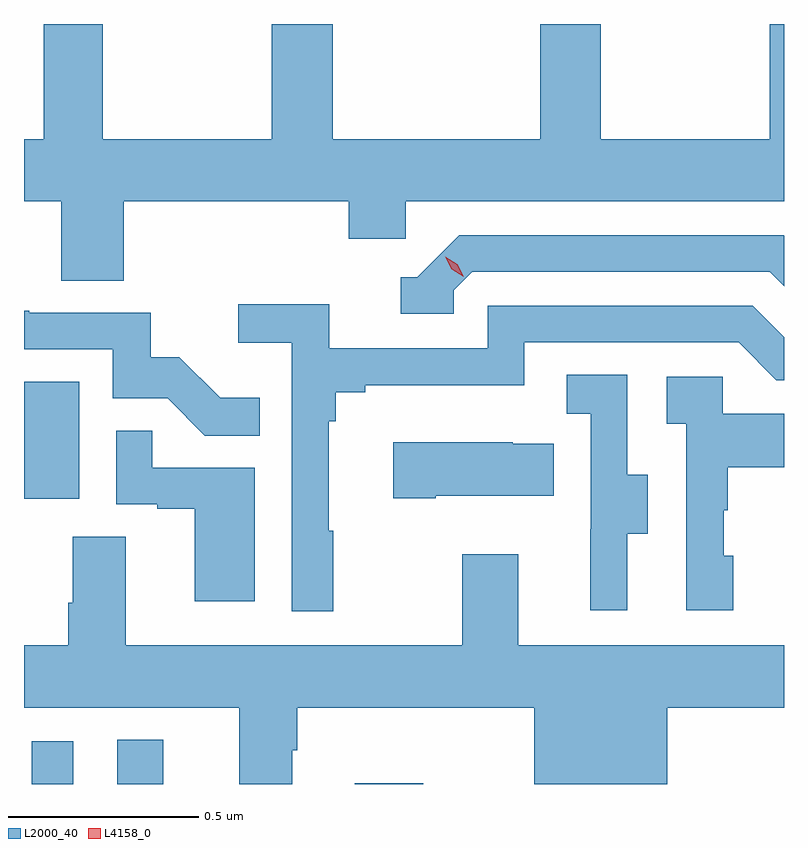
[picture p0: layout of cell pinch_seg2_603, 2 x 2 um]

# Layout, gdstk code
import gdstk
lib = gdstk.Library(unit=1e-6, precision=1e-09)
def R(c, l, rs):  # rectangles x0, y0, x1, y1
    for r in rs: c.add(gdstk.rectangle(r[:2], r[2:], *l))
def P(c, l, *ps):  # polygons
    for p in ps: c.add(gdstk.Polygon(p, *l))
L2000_40 = (2000, 40)
L4158_0 = (4158, 0)

pinch_seg2_603 = lib.new_cell('pinch_seg2_603')
R(pinch_seg2_603, L2000_40, [(1073.784,616.799,1073.892,616.912), (1074.008,616.799,1074.13,616.915), (1074.633,616.799,1074.814,616.801), (1073.763,617.55,1073.908,617.857)])
P(pinch_seg2_603, L2000_40, [(1074.026,618.332),(1074.617,618.332),(1074.617,618.234),(1074.768,618.234),(1074.768,618.332),(1075.763,618.332),(1075.763,618.799),(1075.726,618.799),(1075.726,618.496),(1075.281,618.496),(1075.281,618.799),(1075.121,618.799),(1075.121,618.496),(1074.575,618.496),(1074.575,618.799),(1074.415,618.799),(1074.415,618.496),(1073.97,618.496),(1073.97,618.799),(1073.815,618.799),(1073.815,618.496),(1073.763,618.496),(1073.763,618.332),(1073.861,618.332),(1073.861,618.124),(1074.026,618.124)],
  [(1074.894,618.099),(1074.942,618.147),(1075.725,618.147),(1075.763,618.109),(1075.763,618.242),(1075.762,618.243),(1074.909,618.243),(1074.798,618.132),(1074.755,618.132),(1074.755,618.036),(1074.894,618.036)],
  [(1074.577,617.465),(1074.565,617.465),(1074.565,617.753),(1074.584,617.753),(1074.584,617.83),(1074.661,617.83),(1074.661,617.849),(1075.08,617.849),(1075.08,617.961),(1075.644,617.961),(1075.743,617.862),(1075.763,617.862),(1075.763,617.975),(1075.681,618.057),(1074.984,618.057),(1074.984,617.946),(1074.566,617.946),(1074.566,618.062),(1074.327,618.062),(1074.327,617.96),(1074.468,617.96),(1074.468,617.253),(1074.577,617.253)],
  [(1074.383,617.815),(1074.279,617.815),(1074.172,617.922),(1074.096,617.922),(1074.096,618.039),(1073.777,618.039),(1073.777,618.044),(1073.763,618.044),(1073.763,617.943),(1073.997,617.943),(1073.997,617.814),(1074.141,617.814),(1074.239,617.716),(1074.383,617.716)],
  [(1075.351,617.458),(1075.405,617.458),(1075.405,617.613),(1075.35,617.613),(1075.35,617.876),(1075.191,617.876),(1075.191,617.773),(1075.254,617.773),(1075.254,617.469),(1075.253,617.469),(1075.253,617.256),(1075.351,617.256)],
  [(1075.63,617.4),(1075.605,617.4),(1075.605,617.519),(1075.615,617.519),(1075.615,617.633),(1075.763,617.633),(1075.763,617.773),(1075.602,617.773),(1075.602,617.871),(1075.455,617.871),(1075.455,617.747),(1075.506,617.747),(1075.506,617.256),(1075.63,617.256)],
  [(1074.37,617.631),(1074.101,617.631),(1074.101,617.729),(1074.006,617.729),(1074.006,617.535),(1074.113,617.535),(1074.113,617.523),(1074.212,617.523),(1074.212,617.28),(1074.37,617.28)],
  [(1074.847,617.558),(1075.157,617.558),(1075.157,617.695),(1075.049,617.695),(1075.049,617.698),(1074.735,617.698),(1074.735,617.551),(1074.847,617.551)],
  [(1073.891,617.45),(1073.891,617.276),(1073.879,617.276),(1073.879,617.164),(1073.763,617.164),(1073.763,617),(1074.329,617),(1074.329,616.799),(1074.469,616.799),(1074.469,616.888),(1074.482,616.888),(1074.482,617),(1075.106,617),(1075.106,616.799),(1075.456,616.799),(1075.456,617),(1075.763,617),(1075.763,617.164),(1075.063,617.164),(1075.063,617.404),(1074.916,617.404),(1074.916,617.164),(1074.031,617.164),(1074.031,617.45)])
P(pinch_seg2_603, L4158_0, [(1074.92,618.134),(1074.888,618.153),(1074.871,618.186),(1074.871,618.186),(1074.872,618.186),(1074.903,618.167),(1074.92,618.134),(1074.92,618.134)])

lib.write_gds('pinch_seg2_603.gds')
